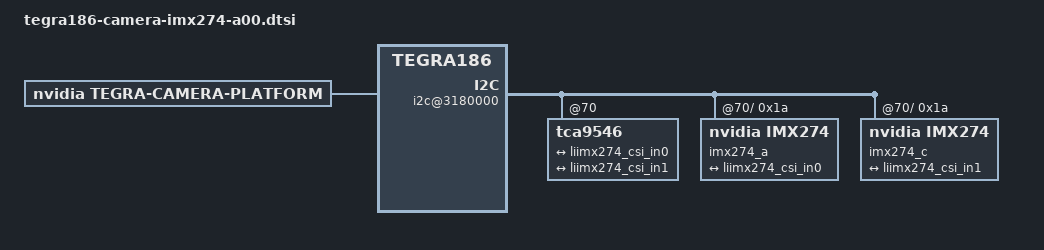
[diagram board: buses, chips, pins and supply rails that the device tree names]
/*
 * Copyright (c) 2016, NVIDIA CORPORATION.  All rights reserved.
 *
 * This program is free software; you can redistribute it and/or modify
 * it under the terms of the GNU General Public License as published by
 * the Free Software Foundation; either version 2 of the License, or
 * (at your option) any later version.
 *
 * This program is distributed in the hope that it will be useful, but WITHOUT
 * ANY WARRANTY; without even the implied warranty of MERCHANTABILITY or
 * FITNESS FOR A PARTICULAR PURPOSE.  See the GNU General Public License for
 * more details.
 *
 * You should have received a copy of the GNU General Public License
 * along with this program.  If not, see <http://www.gnu.org/licenses/>.
 */

/ {
	host1x {
		vi@15700000 {
			num-channels = <2>;
			ports {
				#address-cells = <1>;
				#size-cells = <0>;
				port@0 {
					reg = <0>;
					liimx274_vi_in0: endpoint {
						csi-port = <0>;
						bus-width = <4>;
						remote-endpoint = <&liimx274_csi_out0>;
					};
				};
				port@1 {
					reg = <1>;
					liimx274_vi_in1: endpoint {
						csi-port = <2>;
						bus-width = <4>;
						remote-endpoint = <&liimx274_csi_out1>;
					};
				};
			};	
		
		};
		

		nvcsi@150c0000 {
			num-channels = <2>;
			#address-cells = <1>;
			#size-cells = <0>;
			channel@0 {
				reg = <0>;
				ports {
					#address-cells = <1>;
					#size-cells = <0>;
					port@0 {
						reg = <0>;
						liimx274_csi_in0: endpoint@0 {
							csi-port = <0>;
							bus-width = <4>;
							remote-endpoint = <&liimx274_imx274_out0>;
						};
					};
					port@1 {
						reg = <1>;
						liimx274_csi_out0: endpoint@1 {
							remote-endpoint = <&liimx274_vi_in0>;
						};
					};
				};
			};
			channel@1 {
				reg = <1>;
				ports {
					#address-cells = <1>;
					#size-cells = <0>;
					port@0 {
						reg = <0>;
						liimx274_csi_in1: endpoint@0 {
							csi-port = <2>;
							bus-width = <4>;
							remote-endpoint = <&liimx274_imx274_out1>;
						};
					};
					port@1 {
						reg = <1>;
						liimx274_csi_out1: endpoint@1 {
							remote-endpoint = <&liimx274_vi_in1>;
						};
					};
				};
			};
		};
	};

	i2c@3180000 {
		tca9546@70 {
			i2c@0 {
				imx274_a@1a {
					compatible = "nvidia,imx274";
					/* I2C device address */
					reg = <0x1a>;

					/* V4L2 device node location */
					devnode = "video0";

					/* Physical dimensions of sensor */
					physical_w = "3.674";
					physical_h = "2.738";


					/* Define any required hw resources needed by driver */
					/* ie. clocks, io pins, power sources */
					avdd-reg = "vana";
					iovdd-reg = "vif";
					dvdd-reg = "vdig";

					/* Defines number of frames to be dropped by driver internally after applying */
					/* sensor crop settings. Some sensors send corrupt frames after applying */
					/* crop co-ordinates */
					/*post_crop_frame_drop = "0";*/

					/* if true, delay gain setting by one frame to be in sync with exposure */
					delayed_gain = "true";

					/**
					* A modeX node is required to support v4l2 driver
					* implementation with NVIDIA camera software stack
					*
					* mclk_khz = "";
					* Standard MIPI driving clock, typically 24MHz
					*
					* num_lanes = "";
					* Number of lane channels sensor is programmed to output
					*
					* tegra_sinterface = "";
					* The base tegra serial interface lanes are connected to
					*
					* discontinuous_clk = "";
					* The sensor is programmed to use a discontinuous clock on MIPI lanes
					*
					* dpcm_enable = "true";
					* The sensor is programmed to use a DPCM modes
					*
					* cil_settletime = "";
					* MIPI lane settle time value.
					* A "0" value attempts to autocalibrate based on mclk_multiplier
					*
					*
					*
					*
					* active_w = "";
					* Pixel active region width
					*
					* active_h = "";
					* Pixel active region height
					*
					* pixel_t = "";
					* The sensor readout pixel pattern
					*
					* readout_orientation = "0";
					* Based on camera module orientation.
					* Only change readout_orientation if you specifically
					* Program a different readout order for this mode
					*
					* line_length = "";
					* Pixel line length (width) for sensor mode.
					* This is used to calibrate features in our camera stack.
					*
					* mclk_multiplier = "";
					* Multiplier to MCLK to help time hardware capture sequence
					* TODO: Assign to PLL_Multiplier as well until fixed in core
					*
					* pix_clk_hz = "";
					* Sensor pixel clock used for calculations like exposure and framerate
					*
					*
					*
					*
					* inherent_gain = "";
					* Gain obtained inherently from mode (ie. pixel binning)
					*
					* min_gain_val = ""; (floor to 6 decimal places)
					* max_gain_val = ""; (floor to 6 decimal places)
					* Gain limits for mode
					*
					* min_exp_time = ""; (ceil to integer)
					* max_exp_time = ""; (ceil to integer)
					* Exposure Time limits for mode (us)
					*
					*
					* min_hdr_ratio = "";
					* max_hdr_ratio = "";
					* HDR Ratio limits for mode
					*
					* min_framerate = "";
					* max_framerate = "";
					* Framerate limits for mode (fps)
					*
					* embedded_metadata_height = "";
					* Sensor embedded metadata height in units of rows.
					* If sensor does not support embedded metadata value should be 0.
					*/
					/* imx274 3864x2174 mode */
					mode0 {
						mclk_khz = "24000";
						num_lanes = "4";
						tegra_sinterface = "serial_a";
						discontinuous_clk = "yes";
						dpcm_enable = "false";
						cil_settletime = "0";

						dynamic_pixel_bit_depth = "10";
						csi_pixel_bit_depth = "10";
						mode_type = "bayer";
						pixel_phase = "rggb";
						pixel_t = "bayer_rggb";

						active_w = "3864";
						active_h = "2174";
						readout_orientation = "0";
						line_length = "2104";
						inherent_gain = "1";
						mclk_multiplier = "25";
						pix_clk_hz = "576000000";

						min_gain_val = "1.0";
						max_gain_val = "22.0";
						min_hdr_ratio = "1";
						max_hdr_ratio = "64";
						min_framerate = "2.9658";
						max_framerate = "60";
						min_exp_time = "3.653";
						max_exp_time = "333277";
					};
					/* imx274 1932x1094 mode */
					mode1 {
						mclk_khz = "24000";
						num_lanes = "4";
						tegra_sinterface = "serial_a";
						discontinuous_clk = "yes";
						dpcm_enable = "false";
						cil_settletime = "0";

						dynamic_pixel_bit_depth = "10";
						csi_pixel_bit_depth = "10";
						mode_type = "bayer";
						pixel_phase = "rggb";
						pixel_t = "bayer_rggb";

						active_w = "1932";
						active_h = "1094";
						readout_orientation = "0";
						line_length = "2080";
						inherent_gain = "1";
						mclk_multiplier = "25";
						pix_clk_hz = "576000000";

						min_gain_val = "1.0";
						max_gain_val = "22.0";
						min_hdr_ratio = "1";
						max_hdr_ratio = "64";
						min_framerate = "3";
						max_framerate = "120";
						min_exp_time = "3.611";
						max_exp_time = "333277";
					};
					/* imx274 1288x734 mode */
					mode2 {
						mclk_khz = "24000";
						num_lanes = "4";
						tegra_sinterface = "serial_a";
						discontinuous_clk = "yes";
						dpcm_enable = "false";
						cil_settletime = "0";

						dynamic_pixel_bit_depth = "10";
						csi_pixel_bit_depth = "10";
						mode_type = "bayer";
						pixel_phase = "rggb";
						pixel_t = "bayer_rggb";

						active_w = "1288";
						active_h = "734";
						readout_orientation = "0";
						line_length = "2080";
						inherent_gain = "1";
						mclk_multiplier = "25";
						pix_clk_hz = "576000000";

						min_gain_val = "1.0";
						max_gain_val = "22.0";
						min_hdr_ratio = "1";
						max_hdr_ratio = "64";
						min_framerate = "3";
						max_framerate = "120";
						min_exp_time = "3.611";
						max_exp_time = "333277";
					};
					/* imx274 1288x546 mode */
					mode3 {
						mclk_khz = "24000";
						num_lanes = "4";
						tegra_sinterface = "serial_a";
						discontinuous_clk = "yes";
						dpcm_enable = "false";
						cil_settletime = "0";

						dynamic_pixel_bit_depth = "10";
						csi_pixel_bit_depth = "10";
						mode_type = "bayer";
						pixel_phase = "rggb";
						pixel_t = "bayer_rggb";

						active_w = "1288";
						active_h = "546";
						readout_orientation = "0";
						line_length = "2080";
						inherent_gain = "1";
						mclk_multiplier = "25";
						pix_clk_hz = "576000000";

						min_gain_val = "1.0";
						max_gain_val = "22.0";
						min_hdr_ratio = "1";
						max_hdr_ratio = "64";
						min_framerate = "3";
						max_framerate = "240";
						min_exp_time = "3.611";
						max_exp_time = "333277";
					};
					ports {
						#address-cells = <1>;
						#size-cells = <0>;
						port@0 {
							reg = <0>;
							liimx274_imx274_out0: endpoint {
							csi-port = <0>;
							bus-width = <4>;
							remote-endpoint = <&liimx274_csi_in0>;
							};
						};
					};
				};
			};
			i2c@1 {
				imx274_c@1a {
					compatible = "nvidia,imx274";
					/* I2C device address */
					reg = <0x1a>;

					/* V4L2 device node location */
					devnode = "video1";

					/* Physical dimensions of sensor */
					physical_w = "3.674";
					physical_h = "2.738";


					/* Define any required hw resources needed by driver */
					/* ie. clocks, io pins, power sources */
					avdd-reg = "vana";
					iovdd-reg = "vif";
					dvdd-reg = "vdig";

					/* Defines number of frames to be dropped by driver internally after applying */
					/* sensor crop settings. Some sensors send corrupt frames after applying */
					/* crop co-ordinates */
					/*post_crop_frame_drop = "0";*/

					/* if true, delay gain setting by one frame to be in sync with exposure */
					delayed_gain = "true";

					/**
					* A modeX node is required to support v4l2 driver
					* implementation with NVIDIA camera software stack
					*
					* mclk_khz = "";
					* Standard MIPI driving clock, typically 24MHz
					*
					* num_lanes = "";
					* Number of lane channels sensor is programmed to output
					*
					* tegra_sinterface = "";
					* The base tegra serial interface lanes are connected to
					*
					* discontinuous_clk = "";
					* The sensor is programmed to use a discontinuous clock on MIPI lanes
					*
					* dpcm_enable = "true";
					* The sensor is programmed to use a DPCM modes
					*
					* cil_settletime = "";
					* MIPI lane settle time value.
					* A "0" value attempts to autocalibrate based on mclk_multiplier
					*
					*
					*
					*
					* active_w = "";
					* Pixel active region width
					*
					* active_h = "";
					* Pixel active region height
					*
					* pixel_t = "";
					* The sensor readout pixel pattern
					*
					* readout_orientation = "0";
					* Based on camera module orientation.
					* Only change readout_orientation if you specifically
					* Program a different readout order for this mode
					*
					* line_length = "";
					* Pixel line length (width) for sensor mode.
					* This is used to calibrate features in our camera stack.
					*
					* mclk_multiplier = "";
					* Multiplier to MCLK to help time hardware capture sequence
					* TODO: Assign to PLL_Multiplier as well until fixed in core
					*
					* pix_clk_hz = "";
					* Sensor pixel clock used for calculations like exposure and framerate
					*
					*
					*
					*
					* inherent_gain = "";
					* Gain obtained inherently from mode (ie. pixel binning)
					*
					* min_gain_val = ""; (floor to 6 decimal places)
					* max_gain_val = ""; (floor to 6 decimal places)
					* Gain limits for mode
					*
					* min_exp_time = ""; (ceil to integer)
					* max_exp_time = ""; (ceil to integer)
					* Exposure Time limits for mode (us)
					*
					*
					* min_hdr_ratio = "";
					* max_hdr_ratio = "";
					* HDR Ratio limits for mode
					*
					* min_framerate = "";
					* max_framerate = "";
					* Framerate limits for mode (fps)
					*
					* embedded_metadata_height = "";
					* Sensor embedded metadata height in units of rows.
					* If sensor does not support embedded metadata value should be 0.
					*/
					/* imx274 3864x2174 mode */
					mode0 {
						mclk_khz = "24000";
						num_lanes = "4";
						tegra_sinterface = "serial_c";
						discontinuous_clk = "yes";
						dpcm_enable = "false";
						cil_settletime = "0";

						dynamic_pixel_bit_depth = "10";
						csi_pixel_bit_depth = "10";
						mode_type = "bayer";
						pixel_phase = "rggb";
						pixel_t = "bayer_rggb";

						active_w = "3864";
						active_h = "2174";
						readout_orientation = "0";
						line_length = "2104";
						inherent_gain = "1";
						mclk_multiplier = "25";
						pix_clk_hz = "576000000";

						min_gain_val = "1.0";
						max_gain_val = "22.0";
						min_hdr_ratio = "1";
						max_hdr_ratio = "64";
						min_framerate = "2.9658";
						max_framerate = "60";
						min_exp_time = "3.653";
						max_exp_time = "333277";
					};
					/* imx274 1932x1094 mode */
					mode1 {
						mclk_khz = "24000";
						num_lanes = "4";
						tegra_sinterface = "serial_c";
						discontinuous_clk = "yes";
						dpcm_enable = "false";
						cil_settletime = "0";

						dynamic_pixel_bit_depth = "10";
						csi_pixel_bit_depth = "10";
						mode_type = "bayer";
						pixel_phase = "rggb";
						pixel_t = "bayer_rggb";

						active_w = "1932";
						active_h = "1094";
						readout_orientation = "0";
						line_length = "2080";
						inherent_gain = "1";
						mclk_multiplier = "25";
						pix_clk_hz = "576000000";

						min_gain_val = "1.0";
						max_gain_val = "22.0";
						min_hdr_ratio = "1";
						max_hdr_ratio = "64";
						min_framerate = "3";
						max_framerate = "120";
						min_exp_time = "3.611";
						max_exp_time = "333277";
					};
					/* imx274 1288x734 mode */
					mode2 {
						mclk_khz = "24000";
						num_lanes = "4";
						tegra_sinterface = "serial_c";
						discontinuous_clk = "yes";
						dpcm_enable = "false";
						cil_settletime = "0";

						dynamic_pixel_bit_depth = "10";
						csi_pixel_bit_depth = "10";
						mode_type = "bayer";
						pixel_phase = "rggb";
						pixel_t = "bayer_rggb";

						active_w = "1288";
						active_h = "734";
						readout_orientation = "0";
						line_length = "2080";
						inherent_gain = "1";
						mclk_multiplier = "25";
						pix_clk_hz = "576000000";

						min_gain_val = "1.0";
						max_gain_val = "22.0";
						min_hdr_ratio = "1";
						max_hdr_ratio = "64";
						min_framerate = "3";
						max_framerate = "120";
						min_exp_time = "3.611";
						max_exp_time = "333277";
					};
					/* imx274 1288x546 mode */
					mode3 {
						mclk_khz = "24000";
						num_lanes = "4";
						tegra_sinterface = "serial_c";
						discontinuous_clk = "yes";
						dpcm_enable = "false";
						cil_settletime = "0";

						dynamic_pixel_bit_depth = "10";
						csi_pixel_bit_depth = "10";
						mode_type = "bayer";
						pixel_phase = "rggb";
						pixel_t = "bayer_rggb";

						active_w = "1288";
						active_h = "546";
						readout_orientation = "0";
						line_length = "2080";
						inherent_gain = "1";
						mclk_multiplier = "25";
						pix_clk_hz = "576000000";

						min_gain_val = "1.0";
						max_gain_val = "22.0";
						min_hdr_ratio = "1";
						max_hdr_ratio = "64";
						min_framerate = "3";
						max_framerate = "240";
						min_exp_time = "3.611";
						max_exp_time = "333277";
					};
					ports {
						#address-cells = <1>;
						#size-cells = <0>;
						port@0 {
							reg = <0>;
							liimx274_imx274_out1: endpoint {
							csi-port = <2>;
							bus-width = <4>;
							remote-endpoint = <&liimx274_csi_in1>;
							};
						};
					};
				};
			};
		};
	};
	lens_imx274@A6V26 {
		min_focus_distance = "0.0";
		hyper_focal = "0.0";
		focal_length = "5.00";
		f_number = "2.0";
		aperture = "2.2";
	};
};



/ {

	tegra-camera-platform {
		compatible = "nvidia, tegra-camera-platform";
		/**
		* Physical settings to calculate max ISO BW
		*
		* num_csi_lanes = <>;
		* Total number of CSI lanes when all cameras are active
		*
		* max_lane_speed = <>;
		* Max lane speed in Kbit/s
		*
		* min_bits_per_pixel = <>;
		* Min bits per pixel
		*
		* vi_peak_byte_per_pixel = <>;
		* Max byte per pixel for the VI ISO case
		*
		* vi_bw_margin_pct = <>;
		* Vi bandwidth margin in percentage
		*
		* max_pixel_rate = <>;
		* Max pixel rate in Kpixel/s for the ISP ISO case
		*
		* isp_peak_byte_per_pixel = <>;
		* Max byte per pixel for the ISP ISO case
		*
		* isp_bw_margin_pct = <>;
		* Isp bandwidth margin in percentage
		*/
		num_csi_lanes = <8>;
		max_lane_speed = <1500000>;
		min_bits_per_pixel = <10>;
		vi_peak_byte_per_pixel = <2>;
		vi_bw_margin_pct = <25>;
		max_pixel_rate = <750000>;
		isp_peak_byte_per_pixel = <5>;
		isp_bw_margin_pct = <25>;

		/**
		 * The general guideline for naming badge_info contains 3 parts, and is as follows,
		 * The first part is the camera_board_id for the module; if the module is in a FFD
		 * platform, then use the platform name for this part.
		 * The second part contains the position of the module, ex. "rear" or "front".
		 * The third part contains the last 6 characters of a part number which is found
		 * in the module's specsheet from the vender.
		 */
		modules {
			module2 {
				badge = "imx274_center_A6V26";
				position = "center";
				orientation = "1";
				drivernode0 {
					/* Declare PCL support driver (classically known as guid)  */
					pcl_id = "v4l2_sensor";
					/* Driver v4l2 device name */
					devname = "imx274 30-001a";
					/* Declare the device-tree hierarchy to driver instance */
					proc-device-tree = "/proc/device-tree/i2c@3180000/tca9546@70/i2c@0/imx274_a@1a";
				};
				drivernode1 {
					/* Declare PCL support driver (classically known as guid)  */
					pcl_id = "v4l2_lens";
					proc-device-tree = "/proc/device-tree/lens_imx274@A6V26/";
				};
			};
			module1 {
				badge = "imx274_front_A6V26";
				position = "front";
				orientation = "1";
				drivernode0 {
					/* Declare PCL support driver (classically known as guid)  */
					pcl_id = "v4l2_sensor";
					/* Driver v4l2 device name */
					devname = "imx274 31-001a";
					/* Declare the device-tree hierarchy to driver instance */
					proc-device-tree = "/proc/device-tree/i2c@3180000/tca9546@70/i2c@1/imx274_c@1a";
				};
				drivernode1 {
					/* Declare PCL support driver (classically known as guid)  */
					pcl_id = "v4l2_lens";
					proc-device-tree = "/proc/device-tree/lens_imx274@A6V26/";
				};
			};
		};
	};
};
